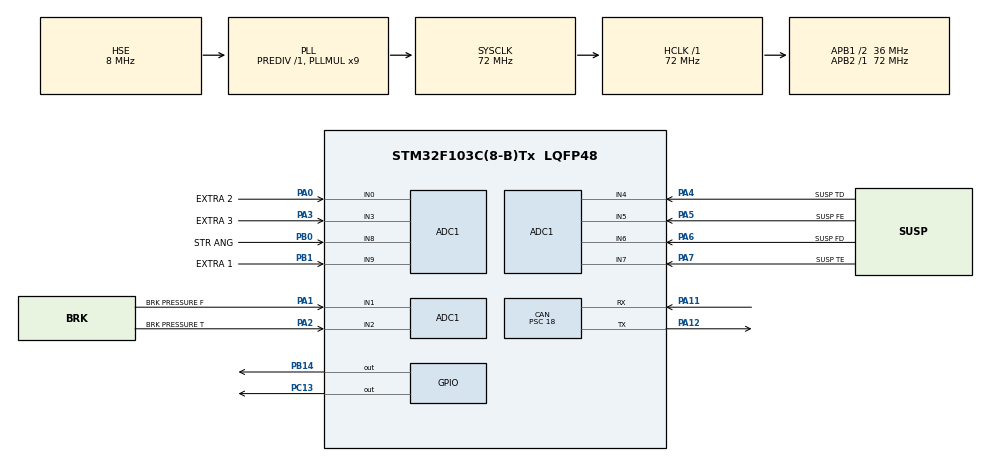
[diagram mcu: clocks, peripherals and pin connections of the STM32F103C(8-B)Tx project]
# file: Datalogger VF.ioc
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ADC1.Channel-0\#ChannelRegularConversion=ADC_CHANNEL_1
ADC1.Channel-1\#ChannelRegularConversion=ADC_CHANNEL_2
ADC1.Channel-2\#ChannelRegularConversion=ADC_CHANNEL_4
ADC1.Channel-3\#ChannelRegularConversion=ADC_CHANNEL_5
ADC1.Channel-4\#ChannelRegularConversion=ADC_CHANNEL_6
ADC1.Channel-5\#ChannelRegularConversion=ADC_CHANNEL_7
ADC1.Channel-6\#ChannelRegularConversion=ADC_CHANNEL_8
ADC1.ContinuousConvMode=ENABLE
ADC1.NbrOfConversion=7
ADC1.NbrOfConversionFlag=1
ADC1.Rank-0\#ChannelRegularConversion=1
ADC1.Rank-1\#ChannelRegularConversion=2
ADC1.Rank-2\#ChannelRegularConversion=3
ADC1.Rank-3\#ChannelRegularConversion=4
ADC1.Rank-4\#ChannelRegularConversion=5
ADC1.Rank-5\#ChannelRegularConversion=6
ADC1.Rank-6\#ChannelRegularConversion=7
ADC1.SamplingTime-0\#ChannelRegularConversion=ADC_SAMPLETIME_239CYCLES_5
ADC1.SamplingTime-1\#ChannelRegularConversion=ADC_SAMPLETIME_239CYCLES_5
ADC1.SamplingTime-2\#ChannelRegularConversion=ADC_SAMPLETIME_239CYCLES_5
ADC1.SamplingTime-3\#ChannelRegularConversion=ADC_SAMPLETIME_239CYCLES_5
ADC1.SamplingTime-4\#ChannelRegularConversion=ADC_SAMPLETIME_239CYCLES_5
ADC1.SamplingTime-5\#ChannelRegularConversion=ADC_SAMPLETIME_239CYCLES_5
ADC1.SamplingTime-6\#ChannelRegularConversion=ADC_SAMPLETIME_239CYCLES_5
ADC1.master=1
CAN.BS1=CAN_BS1_6TQ
CAN.CalculateBaudRate=250000
CAN.CalculateTimeBit=4000
CAN.CalculateTimeQuantum=500.0
CAN.Mode=CAN_MODE_LOOPBACK
CAN.Prescaler=18
Dma.ADC1.0.Direction=DMA_PERIPH_TO_MEMORY
Dma.ADC1.0.Instance=DMA1_Channel1
Dma.ADC1.0.MemDataAlignment=DMA_MDATAALIGN_HALFWORD
Dma.ADC1.0.MemInc=DMA_MINC_ENABLE
Dma.ADC1.0.Mode=DMA_CIRCULAR
Dma.ADC1.0.PeriphDataAlignment=DMA_PDATAALIGN_HALFWORD
Dma.ADC1.0.PeriphInc=DMA_PINC_DISABLE
Dma.ADC1.0.Priority=DMA_PRIORITY_LOW
Dma.Request0=ADC1
Mcu.Family=STM32F1
Mcu.Name=STM32F103C(8-B)Tx
Mcu.Package=LQFP48
NVIC.DMA1_Channel1_IRQn=true\:0\:0\:false\:false\:true\:false\:true\:true
NVIC.PriorityGroup=NVIC_PRIORITYGROUP_4
NVIC.TIM4_IRQn=true\:0\:0\:false\:false\:true\:true\:true\:true
NVIC.USB_LP_CAN1_RX0_IRQn=true\:0\:0\:false\:false\:true\:true\:true\:true
PA0-WKUP.GPIO_Label=EXTRA 2
PA0-WKUP.Signal=ADCx_IN0
PA1.GPIO_Label=BRK PRESSURE F
PA1.Signal=ADCx_IN1
PA11.Mode=CAN_Activate
PA11.Signal=CAN_RX
PA12.Mode=CAN_Activate
PA12.Signal=CAN_TX
PA13.Mode=Serial_Wire
PA13.Signal=SYS_JTMS-SWDIO
PA14.Mode=Serial_Wire
PA14.Signal=SYS_JTCK-SWCLK
PA2.GPIO_Label=BRK PRESSURE T
PA2.Signal=ADCx_IN2
PA3.GPIO_Label=EXTRA 3
PA3.Signal=ADCx_IN3
PA4.GPIO_Label=SUSP TD
PA4.Signal=ADCx_IN4
PA5.GPIO_Label=SUSP FE
PA5.Signal=ADCx_IN5
PA6.GPIO_Label=SUSP FD
PA6.Signal=ADCx_IN6
PA7.GPIO_Label=SUSP TE
PA7.Signal=ADCx_IN7
PB0.GPIO_Label=STR ANG
PB0.Signal=ADCx_IN8
PB1.GPIO_Label=EXTRA 1
PB1.Signal=ADCx_IN9
PB14.PinState=GPIO_PIN_SET
PB14.Signal=GPIO_Output
PC13-TAMPER-RTC.PinState=GPIO_PIN_SET
PC13-TAMPER-RTC.Signal=GPIO_Output
PD0-OSC_IN.Mode=HSE-External-Oscillator
PD0-OSC_IN.Signal=RCC_OSC_IN
PD1-OSC_OUT.Mode=HSE-External-Oscillator
PD1-OSC_OUT.Signal=RCC_OSC_OUT
ProjectManager.HeapSize=0x200
ProjectManager.StackSize=0x400
ProjectManager.TargetToolchain=STM32CubeIDE
RCC.ADCPresc=RCC_ADCPCLK2_DIV6
RCC.AHBFreq_Value=72000000
RCC.APB1CLKDivider=RCC_HCLK_DIV2
RCC.APB1Freq_Value=36000000
RCC.APB1TimFreq_Value=72000000
RCC.APB2Freq_Value=72000000
RCC.APB2TimFreq_Value=72000000
RCC.HCLKFreq_Value=72000000
RCC.PLLMUL=RCC_PLL_MUL9
RCC.PLLSourceVirtual=RCC_PLLSOURCE_HSE
RCC.SYSCLKFreq_VALUE=72000000
RCC.SYSCLKSource=RCC_SYSCLKSOURCE_PLLCLK
RCC.USBFreq_Value=72000000
SH.ADCx_IN0.0=ADC1_IN0,IN0
SH.ADCx_IN1.0=ADC1_IN1,IN1
SH.ADCx_IN2.0=ADC1_IN2,IN2
SH.ADCx_IN3.0=ADC1_IN3,IN3
SH.ADCx_IN4.0=ADC1_IN4,IN4
SH.ADCx_IN5.0=ADC1_IN5,IN5
SH.ADCx_IN6.0=ADC1_IN6,IN6
SH.ADCx_IN7.0=ADC1_IN7,IN7
SH.ADCx_IN8.0=ADC1_IN8,IN8
SH.ADCx_IN9.0=ADC1_IN9,IN9
TIM4.Period=100
TIM4.Prescaler=7200
VP_TIM4_VS_ClockSourceINT.Mode=Internal
board=custom

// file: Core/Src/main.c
/* USER CODE BEGIN Header */
/**
  ******************************************************************************
  * @file           : main.c
  * @brief          : Main program body
  ******************************************************************************
  * @attention
  *
  * Copyright (c) 2025 STMicroelectronics.
  * All rights reserved.
  *
  * This software is licensed under terms that can be found in the LICENSE file
  * in the root directory of this software component.
  * If no LICENSE file comes with this software, it is provided AS-IS.
  *
  ******************************************************************************
  */
/* USER CODE END Header */
#include "main.h"

/* USER CODE BEGIN Includes */
#include "Sensors.h"
#include <string.h>
/* USER CODE END Includes */

ADC_HandleTypeDef hadc1;
DMA_HandleTypeDef hdma_adc1;

CAN_HandleTypeDef hcan;

TIM_HandleTypeDef htim4;

/* USER CODE BEGIN PV */
uint16_t ADC_VAL[READSIZE];
int IsADCFinished = 0;
int sendData = 0;
uint8_t Pedal_position;
float PEDAL_ANG;
float STR_ANG;
float BRK_Pressure_T;
float BRK_Pressure_F;
float SUSP_TD;
float SUSP_FE;
float SUSP_FD;
float SUSP_TE;
float STR_ANG;
int Teste = 150;
int Teste_res = 0;
CAN_TxHeaderTypeDef TxHeader;
CAN_RxHeaderTypeDef RxHeader;
uint32_t TxMailbox;
uint8_t TxData[8];
uint8_t RxData[8];
/* USER CODE END PV */

void SystemClock_Config(void);
static void MX_GPIO_Init(void);
static void MX_DMA_Init(void);
static void MX_ADC1_Init(void);
static void MX_CAN_Init(void);
static void MX_TIM4_Init(void);
/* USER CODE BEGIN PFP */
void HAL_ADC_ConvCpltCallback(ADC_HandleTypeDef *hadc);
void HAL_CAN_RxFifo0MsgPendingCallback(CAN_HandleTypeDef *hcan);
void HAL_TIM_PeriodElapsedCallback(TIM_HandleTypeDef * htim);
void send_angles(void );
/* USER CODE END PFP */

int main(void)
{

  /* MCU Configuration--------------------------------------------------------*/

  /* Reset of all peripherals, Initializes the Flash interface and the Systick. */
  HAL_Init();

  /* Configure the system clock */
  SystemClock_Config();

  /* Initialize all configured peripherals */
  MX_GPIO_Init();
  MX_DMA_Init();
  MX_ADC1_Init();
  MX_CAN_Init();
  MX_TIM4_Init();
  /* USER CODE BEGIN 2 */
  HAL_TIM_Base_Start_IT(&htim4);
  HAL_ADC_Start_DMA(&hadc1, (uint32_t *) ADC_VAL, READSIZE);
  HAL_CAN_Start(&hcan);
//  if (HAL_CAN_Start(&hcan) != HAL_OK)
//  {
//      Error_Handler();
//  }
//  else
//  {
//      // CAN iniciado --> acende o led
//      HAL_GPIO_WritePin(GPIOB, GPIO_PIN_14, GPIO_PIN_SET);
//  }
  HAL_CAN_ActivateNotification(&hcan, CAN_IT_RX_FIFO0_MSG_PENDING);
  /* USER CODE END 2 */

  /* Infinite loop */
  while (1)
  {

    /* USER CODE BEGIN 3 */
	  	  send_angles();
		  if(sendData == 1){
		  if(IsADCFinished == 1){
			  for(int i = 0; i < READSIZE; i++){

			        switch (i) {
			            case 0:
			                BRK_Pressure_T = ReadPressure(ReadVoltage(ADC_VAL[i]));
			                break;
			            case 1:
			                BRK_Pressure_F = ReadPressure(ReadVoltage(ADC_VAL[i]));
			                break;
			            case 2:
			            	SUSP_TD = ReadPosition(ReadVoltage(ADC_VAL[i]));
			                break;
			            case 3:
			            	SUSP_FE = ReadPosition(ReadVoltage(ADC_VAL[i]));
			                break;
			            case 4:
			            	SUSP_FD = ReadPosition(ReadVoltage(ADC_VAL[i]));
			            	break;
			            case 5:
			            	SUSP_TE = ReadPosition(ReadVoltage(ADC_VAL[i]));
			            	break;
			            case 6:
			            	STR_ANG = ReadAngleSTR(ReadVoltage(ADC_VAL[i]));
			            	break;
			        }
			    }
			  PEDAL_ANG = ReadAngle(Pedal_position);
			  IsADCFinished = 0;
		  }
		  sendData = 0;
	  }
  }
  /* USER CODE END 3 */
}

void SystemClock_Config(void)
{
  RCC_OscInitTypeDef RCC_OscInitStruct = {0};
  RCC_ClkInitTypeDef RCC_ClkInitStruct = {0};
  RCC_PeriphCLKInitTypeDef PeriphClkInit = {0};

  /** Initializes the RCC Oscillators according to the specified parameters
  * in the RCC_OscInitTypeDef structure.
  */
  RCC_OscInitStruct.OscillatorType = RCC_OSCILLATORTYPE_HSE;
  RCC_OscInitStruct.HSEState = RCC_HSE_ON;
  RCC_OscInitStruct.HSEPredivValue = RCC_HSE_PREDIV_DIV1;
  RCC_OscInitStruct.HSIState = RCC_HSI_ON;
  RCC_OscInitStruct.PLL.PLLState = RCC_PLL_ON;
  RCC_OscInitStruct.PLL.PLLSource = RCC_PLLSOURCE_HSE;
  RCC_OscInitStruct.PLL.PLLMUL = RCC_PLL_MUL9;
  if (HAL_RCC_OscConfig(&RCC_OscInitStruct) != HAL_OK)
  {
    Error_Handler();
  }

  /** Initializes the CPU, AHB and APB buses clocks
  */
  RCC_ClkInitStruct.ClockType = RCC_CLOCKTYPE_HCLK|RCC_CLOCKTYPE_SYSCLK
                              |RCC_CLOCKTYPE_PCLK1|RCC_CLOCKTYPE_PCLK2;
  RCC_ClkInitStruct.SYSCLKSource = RCC_SYSCLKSOURCE_PLLCLK;
  RCC_ClkInitStruct.AHBCLKDivider = RCC_SYSCLK_DIV1;
  RCC_ClkInitStruct.APB1CLKDivider = RCC_HCLK_DIV2;
  RCC_ClkInitStruct.APB2CLKDivider = RCC_HCLK_DIV1;

  if (HAL_RCC_ClockConfig(&RCC_ClkInitStruct, FLASH_LATENCY_2) != HAL_OK)
  {
    Error_Handler();
  }
  PeriphClkInit.PeriphClockSelection = RCC_PERIPHCLK_ADC;
  PeriphClkInit.AdcClockSelection = RCC_ADCPCLK2_DIV6;
  if (HAL_RCCEx_PeriphCLKConfig(&PeriphClkInit) != HAL_OK)
  {
    Error_Handler();
  }
}

static void MX_ADC1_Init(void)
{

  ADC_ChannelConfTypeDef sConfig = {0};

  /** Common config
  */
  hadc1.Instance = ADC1;
  hadc1.Init.ScanConvMode = ADC_SCAN_ENABLE;
  hadc1.Init.ContinuousConvMode = ENABLE;
  hadc1.Init.DiscontinuousConvMode = DISABLE;
  hadc1.Init.ExternalTrigConv = ADC_SOFTWARE_START;
  hadc1.Init.DataAlign = ADC_DATAALIGN_RIGHT;
  hadc1.Init.NbrOfConversion = 7;
  if (HAL_ADC_Init(&hadc1) != HAL_OK)
  {
    Error_Handler();
  }

  /** Configure Regular Channel
  */
  sConfig.Channel = ADC_CHANNEL_1;
  sConfig.Rank = ADC_REGULAR_RANK_1;
  sConfig.SamplingTime = ADC_SAMPLETIME_239CYCLES_5;
  if (HAL_ADC_ConfigChannel(&hadc1, &sConfig) != HAL_OK)
  {
    Error_Handler();
  }

  /** Configure Regular Channel
  */
  sConfig.Channel = ADC_CHANNEL_2;
  sConfig.Rank = ADC_REGULAR_RANK_2;
  if (HAL_ADC_ConfigChannel(&hadc1, &sConfig) != HAL_OK)
  {
    Error_Handler();
  }

  /** Configure Regular Channel
  */
  sConfig.Channel = ADC_CHANNEL_4;
  sConfig.Rank = ADC_REGULAR_RANK_3;
  if (HAL_ADC_ConfigChannel(&hadc1, &sConfig) != HAL_OK)
  {
    Error_Handler();
  }

  /** Configure Regular Channel
  */
  sConfig.Channel = ADC_CHANNEL_5;
  sConfig.Rank = ADC_REGULAR_RANK_4;
  if (HAL_ADC_ConfigChannel(&hadc1, &sConfig) != HAL_OK)
  {
    Error_Handler();
  }

  /** Configure Regular Channel
  */
  sConfig.Channel = ADC_CHANNEL_6;
  sConfig.Rank = ADC_REGULAR_RANK_5;
  if (HAL_ADC_ConfigChannel(&hadc1, &sConfig) != HAL_OK)
  {
    Error_Handler();
  }

  /** Configure Regular Channel
  */
  sConfig.Channel = ADC_CHANNEL_7;
  sConfig.Rank = ADC_REGULAR_RANK_6;
  if (HAL_ADC_ConfigChannel(&hadc1, &sConfig) != HAL_OK)
  {
    Error_Handler();
  }

  /** Configure Regular Channel
  */
  sConfig.Channel = ADC_CHANNEL_8;
  sConfig.Rank = ADC_REGULAR_RANK_7;
  if (HAL_ADC_ConfigChannel(&hadc1, &sConfig) != HAL_OK)
  {
    Error_Handler();
  }

}

static void MX_CAN_Init(void)
{

  hcan.Instance = CAN1;
  hcan.Init.Prescaler = 18;
  hcan.Init.Mode = CAN_MODE_LOOPBACK;
  hcan.Init.SyncJumpWidth = CAN_SJW_1TQ;
  hcan.Init.TimeSeg1 = CAN_BS1_6TQ;
  hcan.Init.TimeSeg2 = CAN_BS2_1TQ;
  hcan.Init.TimeTriggeredMode = DISABLE;
  hcan.Init.AutoBusOff = DISABLE;
  hcan.Init.AutoWakeUp = DISABLE;
  hcan.Init.AutoRetransmission = DISABLE;
  hcan.Init.ReceiveFifoLocked = DISABLE;
  hcan.Init.TransmitFifoPriority = DISABLE;
  if (HAL_CAN_Init(&hcan) != HAL_OK)
  {
    Error_Handler();
  }
  /* USER CODE BEGIN CAN_Init 2 */

  CAN_FilterTypeDef canfilterconfig;

  canfilterconfig.FilterActivation = ENABLE;
  canfilterconfig.FilterBank = 0;
  canfilterconfig.FilterFIFOAssignment = CAN_RX_FIFO0;
  canfilterconfig.FilterIdHigh = 0x0000;
  canfilterconfig.FilterIdLow = 0x0000;
  canfilterconfig.FilterMaskIdHigh = 0x0000;
  canfilterconfig.FilterMaskIdLow = 0x0000;
  canfilterconfig.FilterMode = CAN_FILTERMODE_IDMASK;
  canfilterconfig.FilterScale = CAN_FILTERSCALE_32BIT;

  HAL_CAN_ConfigFilter(&hcan, &canfilterconfig);

  /* USER CODE END CAN_Init 2 */

}

static void MX_TIM4_Init(void)
{

  TIM_ClockConfigTypeDef sClockSourceConfig = {0};
  TIM_MasterConfigTypeDef sMasterConfig = {0};

  htim4.Instance = TIM4;
  htim4.Init.Prescaler = 7200;
  htim4.Init.CounterMode = TIM_COUNTERMODE_UP;
  htim4.Init.Period = 100;
  htim4.Init.ClockDivision = TIM_CLOCKDIVISION_DIV1;
  htim4.Init.AutoReloadPreload = TIM_AUTORELOAD_PRELOAD_DISABLE;
  if (HAL_TIM_Base_Init(&htim4) != HAL_OK)
  {
    Error_Handler();
  }
  sClockSourceConfig.ClockSource = TIM_CLOCKSOURCE_INTERNAL;
  if (HAL_TIM_ConfigClockSource(&htim4, &sClockSourceConfig) != HAL_OK)
  {
    Error_Handler();
  }
  sMasterConfig.MasterOutputTrigger = TIM_TRGO_RESET;
  sMasterConfig.MasterSlaveMode = TIM_MASTERSLAVEMODE_DISABLE;
  if (HAL_TIMEx_MasterConfigSynchronization(&htim4, &sMasterConfig) != HAL_OK)
  {
    Error_Handler();
  }

}

static void MX_DMA_Init(void)
{

  /* DMA controller clock enable */
  __HAL_RCC_DMA1_CLK_ENABLE();

  /* DMA interrupt init */
  /* DMA1_Channel1_IRQn interrupt configuration */
  HAL_NVIC_SetPriority(DMA1_Channel1_IRQn, 0, 0);
  HAL_NVIC_EnableIRQ(DMA1_Channel1_IRQn);

}

static void MX_GPIO_Init(void)
{
  GPIO_InitTypeDef GPIO_InitStruct = {0};

  /* GPIO Ports Clock Enable */
  __HAL_RCC_GPIOC_CLK_ENABLE();
  __HAL_RCC_GPIOD_CLK_ENABLE();
  __HAL_RCC_GPIOA_CLK_ENABLE();
  __HAL_RCC_GPIOB_CLK_ENABLE();

  /*Configure GPIO pin Output Level */
  HAL_GPIO_WritePin(GPIOC, GPIO_PIN_13, GPIO_PIN_SET);

  /*Configure GPIO pin Output Level */
  HAL_GPIO_WritePin(GPIOB, GPIO_PIN_14, GPIO_PIN_SET);

  /*Configure GPIO pin : PC13 */
  GPIO_InitStruct.Pin = GPIO_PIN_13;
  GPIO_InitStruct.Mode = GPIO_MODE_OUTPUT_PP;
  GPIO_InitStruct.Pull = GPIO_NOPULL;
  GPIO_InitStruct.Speed = GPIO_SPEED_FREQ_LOW;
  HAL_GPIO_Init(GPIOC, &GPIO_InitStruct);

  /*Configure GPIO pin : PB14 */
  GPIO_InitStruct.Pin = GPIO_PIN_14;
  GPIO_InitStruct.Mode = GPIO_MODE_OUTPUT_PP;
  GPIO_InitStruct.Pull = GPIO_NOPULL;
  GPIO_InitStruct.Speed = GPIO_SPEED_FREQ_LOW;
  HAL_GPIO_Init(GPIOB, &GPIO_InitStruct);

}

/* USER CODE BEGIN 4 */
void HAL_ADC_ConvCpltCallback(ADC_HandleTypeDef *hadc){

	IsADCFinished = 1;

}
void HAL_CAN_RxFifo0MsgPendingCallback(CAN_HandleTypeDef *hcan){
	if(HAL_CAN_GetRxMessage(hcan, CAN_RX_FIFO0, &RxHeader, RxData) == HAL_OK){
	        switch (RxHeader.StdId) // Verifica o ID da mensagem
	        {
	            case 0x1: // 0 a 100 do pedal
	                	Pedal_position = RxData[0];
	                break;
	            case 0x451:
	            	Teste_res = RxData[5];
	            	break;
}}}
void send_susp(void){

	  TxHeader.StdId = 0x450;
	  TxHeader.ExtId = 0;
	  TxHeader.IDE = CAN_ID_STD;
	  TxHeader.RTR = CAN_RTR_DATA;
	  TxHeader.DLC = 8;

	  int16_t pos_converted[4];

		 pos_converted[0] = (int16_t)(SUSP_TD*100);
		 pos_converted[1] = (int16_t)(SUSP_FE*100);
		 pos_converted[2] = (int16_t)(SUSP_FD*100);
		 pos_converted[3] = (int16_t)(SUSP_TE*100);

    // Sensores da Suspencao - 4 valores (8 bytes)

    TxData[0] = (uint16_t)(pos_converted[0]);
    TxData[1] = (uint16_t)((pos_converted[0]) >> 8);
    TxData[2] = (uint16_t)(pos_converted[1]);
    TxData[3] = (uint16_t)((pos_converted[1]) >> 8);
    TxData[4] = (uint16_t)(pos_converted[2]);
    TxData[5] =	(uint16_t)((pos_converted[2]) >> 8);
    TxData[6] = (uint16_t)(pos_converted[3]);
	TxData[7] = (uint16_t)((pos_converted[3]) >> 8);

    if (HAL_CAN_AddTxMessage(&hcan, &TxHeader, TxData, &TxMailbox) != HAL_OK){
        HAL_GPIO_WritePin(GPIOB, GPIO_PIN_14, GPIO_PIN_RESET);  // Apaga o LED se o CAN falhar
        Error_Handler();
    }
}
void send_angles(void ){

	  TxHeader.StdId = 0x451;
	  TxHeader.ExtId = 0;
	  TxHeader.IDE = CAN_ID_STD;
	  TxHeader.RTR = CAN_RTR_DATA;
	  TxHeader.DLC = 6;

	  memcpy(TxData, &STR_ANG, sizeof(float));
	  TxData[4] = (uint8_t) PEDAL_ANG;
	  TxData[5] = Teste;
	  HAL_CAN_AddTxMessage(&hcan, &TxHeader, TxData, &TxMailbox);
//	    if (HAL_CAN_AddTxMessage(&hcan, &TxHeader, TxData, &TxMailbox) != HAL_OK){
//	        HAL_GPIO_WritePin(GPIOB, GPIO_PIN_14, GPIO_PIN_RESET);  // Apaga o LED se o CAN falhar
//	        Error_Handler();
//	    }
}
void send_pressure(void ){

	  TxHeader.StdId = 0x452;
	  TxHeader.ExtId = 0;
	  TxHeader.IDE = CAN_ID_STD;
	  TxHeader.RTR = CAN_RTR_DATA;
	  TxHeader.DLC = 8;

	    memcpy(&TxData[0], &BRK_Pressure_F, sizeof(float));

	    memcpy(&TxData[4], &BRK_Pressure_T, sizeof(float));

	    if (HAL_CAN_AddTxMessage(&hcan, &TxHeader, TxData, &TxMailbox) != HAL_OK){
	        HAL_GPIO_WritePin(GPIOB, GPIO_PIN_14, GPIO_PIN_RESET);  // Apaga o LED se o CAN falhar
	        Error_Handler();
	    }
}
void HAL_TIM_PeriodElapsedCallback(TIM_HandleTypeDef * htim)
{
	sendData = 1;

}
/* USER CODE END 4 */

void Error_Handler(void)
{
  __disable_irq();
  while (1)
  {
  }
}
